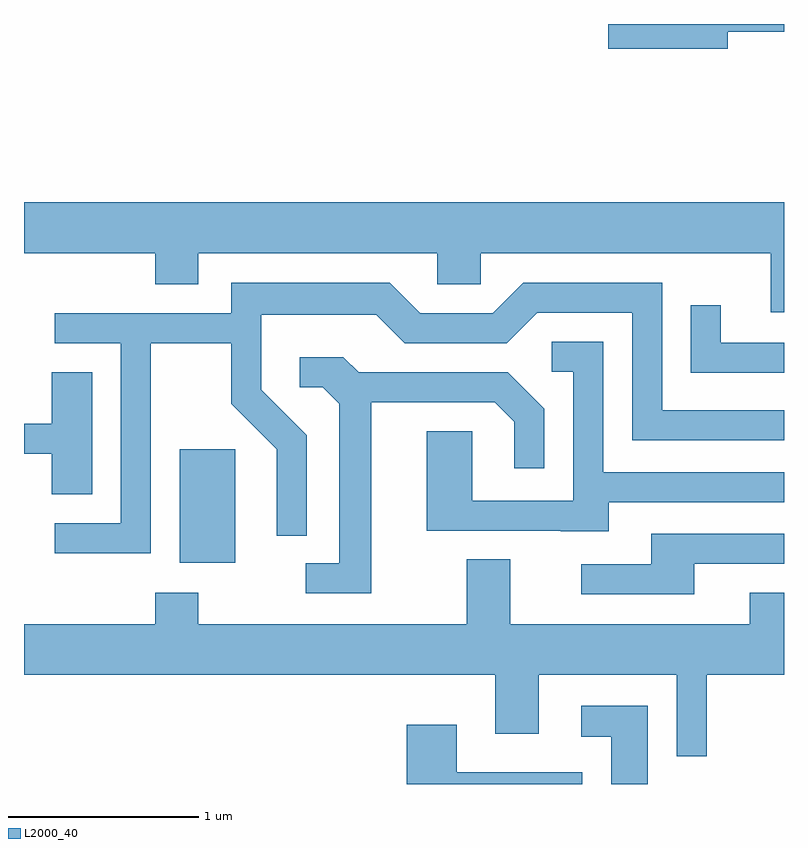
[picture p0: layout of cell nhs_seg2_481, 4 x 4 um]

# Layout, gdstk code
import gdstk
lib = gdstk.Library(unit=1e-6, precision=1e-09)
def R(c, l, rs):  # rectangles x0, y0, x1, y1
    for r in rs: c.add(gdstk.rectangle(r[:2], r[2:], *l))
def P(c, l, *ps):  # polygons
    for p in ps: c.add(gdstk.Polygon(p, *l))
L2000_40 = (2000, 40)

nhs_seg2_481 = lib.new_cell('nhs_seg2_481')
R(nhs_seg2_481, L2000_40, [(200.431,988.966,200.724,989.564)])
P(nhs_seg2_481, L2000_40, [(203.314,991.761),(203.611,991.761),(203.611,991.802),(202.686,991.802),(202.686,991.671),(203.314,991.671)],
  [(203.611,990.864),(199.611,990.864),(199.611,990.596),(200.301,990.596),(200.301,990.431),(200.529,990.431),(200.529,990.596),(201.786,990.596),(201.786,990.431),(202.014,990.431),(202.014,990.596),(203.541,990.596),(203.541,990.286),(203.611,990.286)],
  [(200.279,990.121),(200.701,990.121),(200.701,989.804),(200.941,989.564),(200.941,989.108),(201.099,989.108),(201.099,989.637),(200.859,989.877),(200.859,990.271),(201.464,990.271),(201.614,990.121),(202.152,990.121),(202.312,990.281),(202.811,990.281),(202.811,989.611),(203.611,989.611),(203.611,989.769),(202.969,989.769),(202.969,990.439),(202.239,990.439),(202.079,990.279),(201.697,990.279),(201.537,990.439),(200.701,990.439),(200.701,990.279),(199.773,990.279),(199.773,990.121),(200.121,990.121),(200.121,989.174),(199.773,989.174),(199.773,989.016),(200.279,989.016)],
  [(203.611,990.124),(203.279,990.124),(203.279,990.323),(203.121,990.323),(203.121,989.966),(203.611,989.966)],
  [(202.689,989.286),(203.611,989.286),(203.611,989.444),(202.659,989.444),(202.659,990.129),(202.388,990.129),(202.388,989.971),(202.501,989.971),(202.501,989.294),(201.969,989.294),(201.969,989.659),(201.731,989.659),(201.731,989.136),(202.435,989.136),(202.435,989.131),(202.689,989.131)],
  [(201.439,989.811),(202.089,989.811),(202.191,989.709),(202.191,989.463),(202.349,989.463),(202.349,989.777),(202.157,989.969),(201.372,989.969),(201.292,990.049),(201.063,990.049),(201.063,989.891),(201.184,989.891),(201.271,989.804),(201.271,988.964),(201.093,988.964),(201.093,988.806),(201.439,988.806)],
  [(199.969,989.969),(199.756,989.969),(199.756,989.699),(199.611,989.699),(199.611,989.541),(199.756,989.541),(199.756,989.326),(199.969,989.326)],
  [(203.139,988.961),(203.611,988.961),(203.611,989.119),(202.911,989.119),(202.911,988.959),(202.543,988.959),(202.543,988.801),(203.139,988.801)],
  [(203.204,988.376),(203.611,988.376),(203.611,988.809),(203.431,988.809),(203.431,988.644),(202.169,988.644),(202.169,988.984),(201.941,988.984),(201.941,988.644),(200.529,988.644),(200.529,988.809),(200.301,988.809),(200.301,988.644),(199.611,988.644),(199.611,988.376),(202.091,988.376),(202.091,988.066),(202.319,988.066),(202.319,988.376),(203.046,988.376),(203.046,987.948),(203.204,987.948)],
  [(202.894,988.214),(202.543,988.214),(202.543,988.051),(202.701,988.051),(202.701,987.802),(202.894,987.802)],
  [(202.549,987.864),(201.889,987.864),(201.889,988.114),(201.626,988.114),(201.626,987.802),(202.549,987.802)])

lib.write_gds('nhs_seg2_481.gds')
